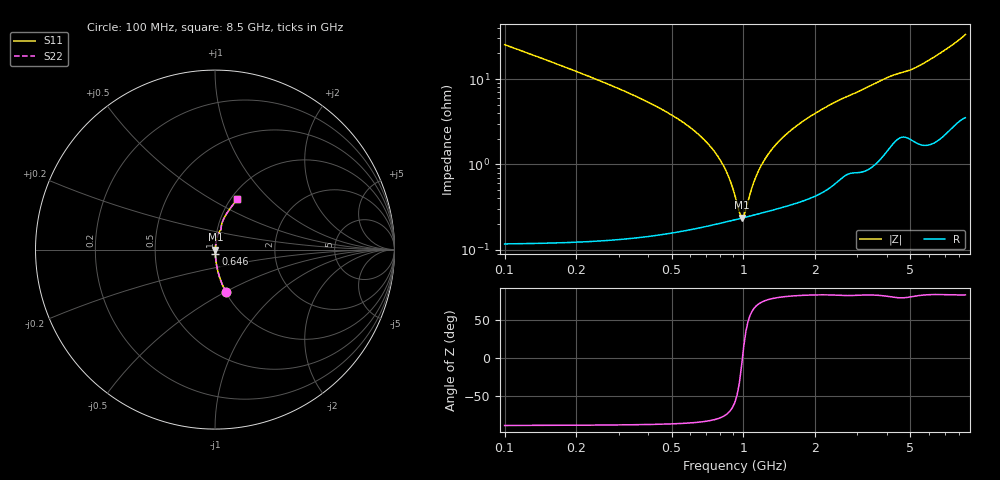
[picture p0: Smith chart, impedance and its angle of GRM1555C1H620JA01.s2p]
!Murata Part Number: GRM1555C1H620JA01
!These Parameters are Measured in Series Mode Connection
!Data Generated on Mar 30, 2021
!  o--ll--o
!Port1  Port2
!  o------o
!Operation Temp=25[degC], DC Bias Voltage=0[V]
!Freq. Start=100[MHz] Stop=9[GHz] 401[Steps]
# Hz S RI R 50
!Freq.(Hz) S11(Real) S11(Imag) S21(Real) S21(Imag) S12(Real) S12(Imag) S22(Real) S22(Imag)
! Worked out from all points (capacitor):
!   401 points, 100 MHz to 8.5 GHz, reference 50 ohm
!   read as one part in series: C = 62.1 pF near 142 MHz
!   lowest |Z| = 238 mohm at 982 MHz (marker M1)
!   series resonance near 990.4 MHz, so ESL is about 420 pH
!   S11 on the Smith chart (normalised r, x): 100 MHz: 1.00, -0.51; 646 MHz: 1.00, -0.05; 8.5 GHz: 1.07, +0.66
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1e8  0.0616 -0.2381  0.9384 0.2381  0.9384 0.2381  0.0616 -0.2381
2.05e8  0.0153 -0.1178  0.9847 0.1178  0.9847 0.1178  0.0153 -0.1178
2.89e8  0.00781 -0.0804  0.9922 0.0804  0.9922 0.0804  0.00781 -0.0804
6.46e8  0.0023 -0.0226  0.9977 0.0226  0.9977 0.0226  0.0023 -0.0226
7.3e8  0.00217 -0.0159  0.9978 0.0159  0.9978 0.0159  0.00217 -0.0159
8.14e8  0.00216 -0.0101  0.9978 0.0101  0.9978 0.0101  0.00216 -0.0101
8.77e8  0.0022 -0.00623  0.9978 0.00623  0.9978 0.00623  0.0022 -0.00623
9.4e8  0.00227 -0.00267  0.9977 0.00267  0.9977 0.00267  0.00227 -0.00267
9.82e8  0.00234 -0.000434  0.9977 0.000434  0.9977 0.000434  0.00234 -0.000434
1.003e9  0.00237 0.000646  0.9976 -0.000646  0.9976 -0.000646  0.00237 0.000646
1.024e9  0.00241 0.0017  0.9976 -0.0017  0.9976 -0.0017  0.00241 0.0017
1.129e9  0.00262 0.0067  0.9974 -0.0067  0.9974 -0.0067  0.00262 0.0067
1.213e9  0.00283 0.0104  0.9972 -0.0104  0.9972 -0.0104  0.00283 0.0104
1.339e9  0.00317 0.0156  0.9968 -0.0156  0.9968 -0.0156  0.00317 0.0156
1.507e9  0.0037 0.0221  0.9963 -0.0221  0.9963 -0.0221  0.0037 0.0221
1.759e9  0.00464 0.0311  0.9954 -0.0311  0.9954 -0.0311  0.00464 0.0311
2.095e9  0.00631 0.0424  0.9937 -0.0424  0.9937 -0.0424  0.00631 0.0424
2.914e9  0.0123 0.0662  0.9877 -0.0662  0.9877 -0.0662  0.0123 0.0662
4.3e9  0.0296 0.1062  0.9704 -0.1062  0.9704 -0.1062  0.0296 0.1062
5.707e9  0.0384 0.1452  0.9616 -0.1452  0.9616 -0.1452  0.0384 0.1452
7.114e9  0.0684 0.2061  0.9316 -0.2061  0.9316 -0.2061  0.0684 0.2061
8.5e9  0.1244 0.2811  0.8756 -0.2811  0.8756 -0.2811  0.1244 0.2811
